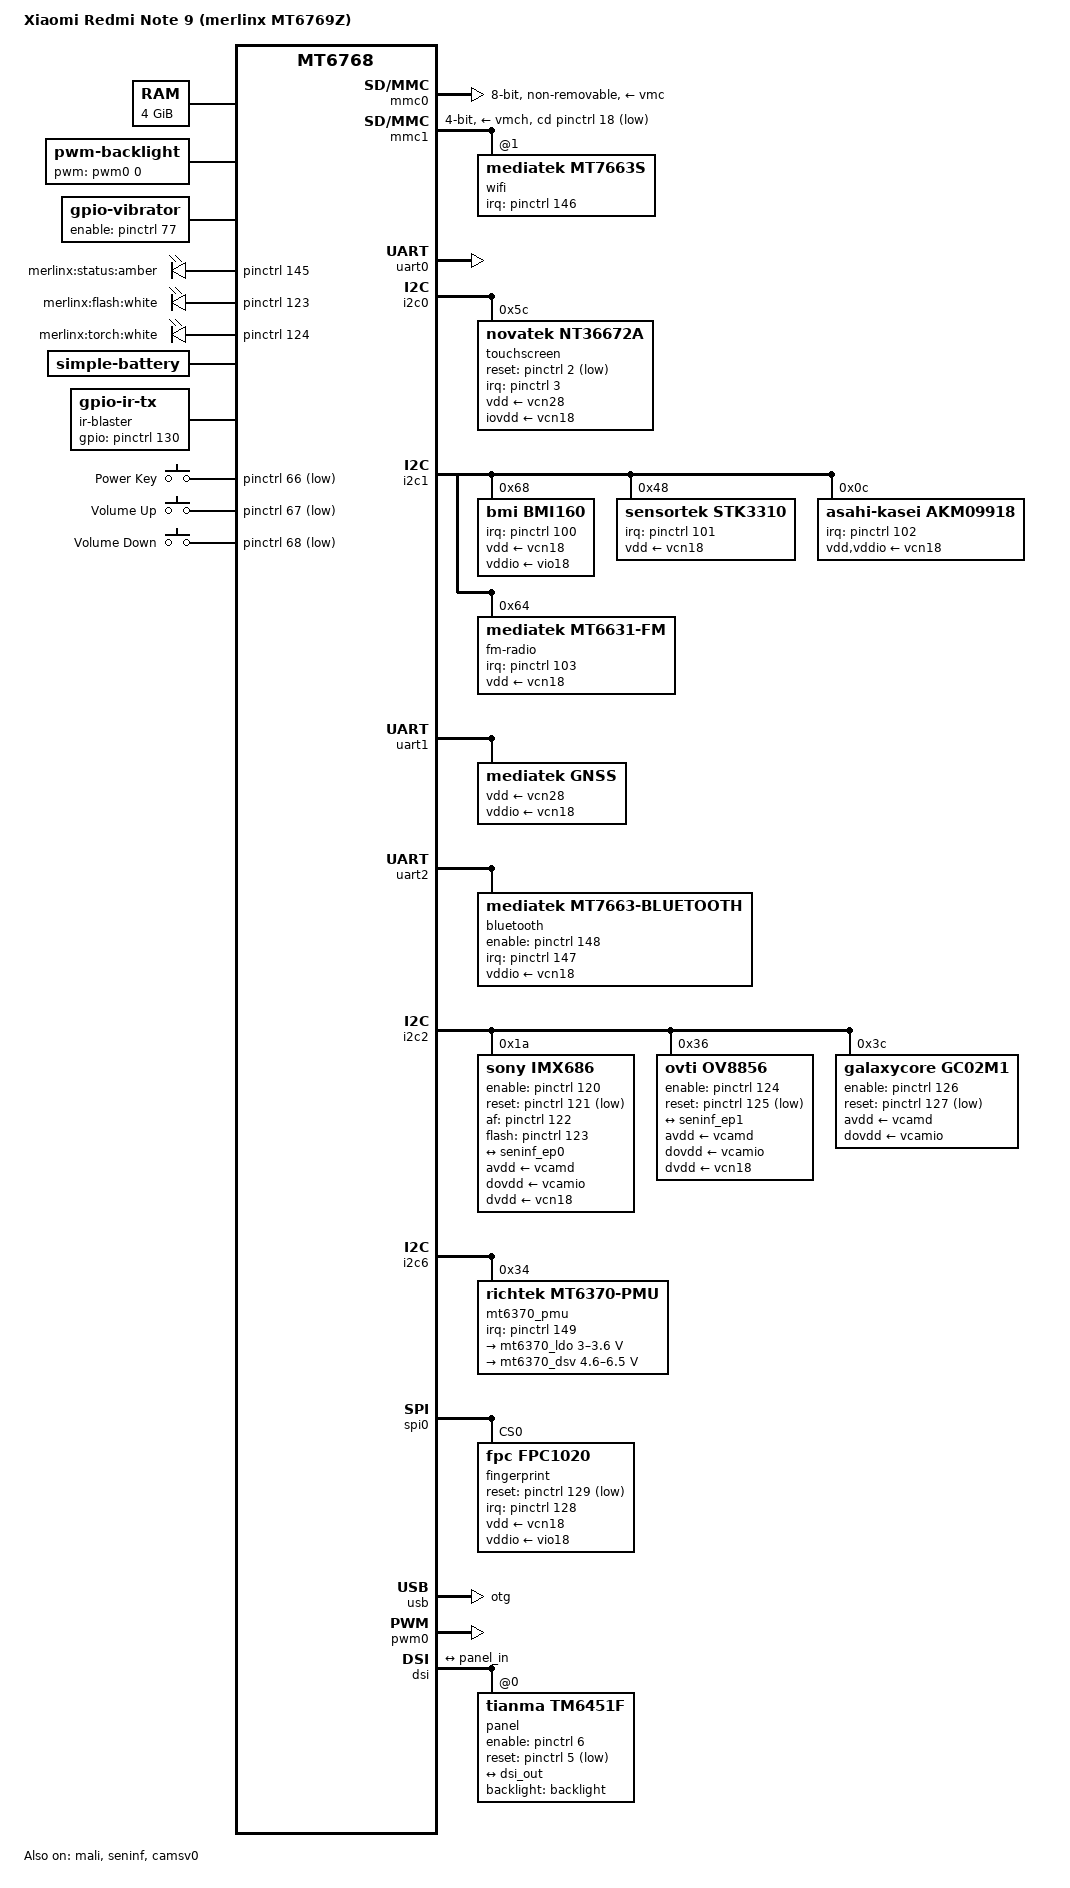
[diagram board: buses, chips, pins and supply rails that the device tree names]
// SPDX-License-Identifier: GPL-2.0
/*
 * Device Tree for Redmi Note 9 (merlinx - non-NFC)
 * SoC: MediaTek MT6769Z (Helio G85)
 * Display: 1080x2340 Tianma DSI panel
 * Storage: eMMC 5.1 + SD card
 * USB: Type-C OTG
 * WiFi: MT7663 SDIO
 * Audio: MT6358 codec
 * Cameras: IMX686 + OV8856 + GC02M1
 */

/dts-v1/;
#include "mt6768.dtsi"
#include <dt-bindings/input/input.h>
#include <dt-bindings/gpio/gpio.h>
#include <dt-bindings/pwm/pwm.h>

/ {
	model = "Xiaomi Redmi Note 9 (merlinx MT6769Z)";
	compatible = "xiaomi,merlinx", "mediatek,mt6769z",
		     "mediatek,mt6769", "mediatek,mt6768";

	memory@40000000 {
		device_type = "memory";
		reg = <0x00000000 0x40000000 0x00000001 0x00000000>;
	};

	chosen {
		bootargs = "console=ttyS0,921600n1 earlycon=uart8250,mmio32,0x11002000,921600n8";
		stdout-path = "uart0:921600n8";
	};

	/* Backlight */
	backlight: backlight {
		compatible = "pwm-backlight";
		pwms = <&pwm0 0 50000 PWM_POLARITY_INVERTED>;
		brightness-levels = <0 32 64 96 128 160 192 224 255>;
		default-brightness-level = <6>;
	};

	/* Vibrator */
	vibrator: vibrator {
		compatible = "gpio-vibrator";
		enable-gpios = <&pinctrl 77 GPIO_ACTIVE_HIGH>;
	};

	/* LED indicators */
	leds {
		compatible = "gpio-leds";
		status-led {
			label = "merlinx:status:amber";
			gpios = <&pinctrl 145 GPIO_ACTIVE_HIGH>;
			default-state = "off";
		};
	};

	/* Flashlight LED */
	flash-led {
		compatible = "gpio-leds";
		flash-led {
			label = "merlinx:flash:white";
			gpios = <&pinctrl 123 GPIO_ACTIVE_HIGH>;
			linux,default-trigger = "flash";
		};
		torch-led {
			label = "merlinx:torch:white";
			gpios = <&pinctrl 124 GPIO_ACTIVE_HIGH>;
			linux,default-trigger = "torch";
		};
	};

	/* Audio sound card */
	sound: sound {
		compatible = "mediatek,mt6768-sound",
			     "mediatek,mt6779-sound";
		model = "mt6768-merlinx";
		audio-routing =
			"Headphone", "HPOL",
			"Headphone", "HPOR",
			"Speakers", "SPK",
			"Speakers", "SPKL",
			"Speakers", "SPKR",
			"Headset Mic", "HSREF",
			"Headset Mic", "HSMIC",
			"Main Mic", "DMIC1",
			"Sub Mic", "DMIC2";
	};

	/* Battery fuel gauge */
	battery: battery {
		compatible = "simple-battery";
		charge-full-design-microamp-hours = <5000000>;
		voltage-min-design-microvolt = <3400000>;
		voltage-max-design-microvolt = <4400000>;
	};
};

/* PMIC Regulators - MT6358 */
&pmic {
	regulators {
		vcore: buck-vcore {
			regulator-name = "vcore";
			regulator-min-microvolt = <500000>;
			regulator-max-microvolt = <1293750>;
			regulator-always-on;
		};

		vpa: boost-vpa {
			regulator-name = "vpa";
			regulator-min-microvolt = <500000>;
			regulator-max-microvolt = <3650000>;
		};

		vgpu: buck-vgpu {
			regulator-name = "vgpu";
			regulator-min-microvolt = <500000>;
			regulator-max-microvolt = <1293750>;
		};

		vmodem: buck-vmodem {
			regulator-name = "vmodem";
			regulator-min-microvolt = <500000>;
			regulator-max-microvolt = <1293750>;
			regulator-always-on;
		};

		vproc11: buck-vproc11 {
			regulator-name = "vproc11";
			regulator-min-microvolt = <500000>;
			regulator-max-microvolt = <1293750>;
			regulator-always-on;
		};

		vproc12: buck-vproc12 {
			regulator-name = "vproc12";
			regulator-min-microvolt = <500000>;
			regulator-max-microvolt = <1293750>;
			regulator-always-on;
		};

		vdram1: buck-vdram1 {
			regulator-name = "vdram1";
			regulator-min-microvolt = <500000>;
			regulator-max-microvolt = <2087500>;
			regulator-always-on;
		};

		vs1: buck-vs1 {
			regulator-name = "vs1";
			regulator-min-microvolt = <500000>;
			regulator-max-microvolt = <2087500>;
		};

		vs2: buck-vs2 {
			regulator-name = "vs2";
			regulator-min-microvolt = <500000>;
			regulator-max-microvolt = <2087500>;
		};

		va09: ldo-va09 {
			regulator-name = "va09";
			regulator-min-microvolt = <900000>;
			regulator-max-microvolt = <900000>;
		};

		vaud28: ldo-vaud28 {
			regulator-name = "vaud28";
			regulator-min-microvolt = <2800000>;
			regulator-max-microvolt = <2800000>;
		};

		vaux18: ldo-vaux18 {
			regulator-name = "vaux18";
			regulator-min-microvolt = <1800000>;
			regulator-max-microvolt = <1800000>;
		};

		vbif28: ldo-vbif28 {
			regulator-name = "vbif28";
			regulator-min-microvolt = <2800000>;
			regulator-max-microvolt = <2800000>;
		};

		vcama1: ldo-vcama1 {
			regulator-name = "vcama1";
			regulator-min-microvolt = <1800000>;
			regulator-max-microvolt = <2800000>;
		};

		vcama2: ldo-vcama2 {
			regulator-name = "vcama2";
			regulator-min-microvolt = <1800000>;
			regulator-max-microvolt = <2800000>;
		};

		vcamd: ldo-vcamd {
			regulator-name = "vcamd";
			regulator-min-microvolt = <900000>;
			regulator-max-microvolt = <1500000>;
		};

		vcamio: ldo-vcamio {
			regulator-name = "vcamio";
			regulator-min-microvolt = <1200000>;
			regulator-max-microvolt = <1800000>;
		};

		vcn18: ldo-vcn18 {
			regulator-name = "vcn18";
			regulator-min-microvolt = <1800000>;
			regulator-max-microvolt = <1800000>;
		};

		vcn28: ldo-vcn28 {
			regulator-name = "vcn28";
			regulator-min-microvolt = <2800000>;
			regulator-max-microvolt = <2800000>;
		};

		vcn33_bt: ldo-vcn33-bt {
			regulator-name = "vcn33_bt";
			regulator-min-microvolt = <3300000>;
			regulator-max-microvolt = <3600000>;
		};

		vcn33_wifi: ldo-vcn33-wifi {
			regulator-name = "vcn33_wifi";
			regulator-min-microvolt = <3300000>;
			regulator-max-microvolt = <3600000>;
		};

		vdram2: ldo-vdram2 {
			regulator-name = "vdram2";
			regulator-min-microvolt = <1200000>;
			regulator-max-microvolt = <1800000>;
		};

		vemc: ldo-vemc {
			regulator-name = "vemc";
			regulator-min-microvolt = <2900000>;
			regulator-max-microvolt = <3300000>;
			regulator-always-on;
		};

		vefuse: ldo-vefuse {
			regulator-name = "vefuse";
			regulator-min-microvolt = <1800000>;
			regulator-max-microvolt = <2200000>;
		};

		vfe28: ldo-vfe28 {
			regulator-name = "vfe28";
			regulator-min-microvolt = <2800000>;
			regulator-max-microvolt = <2800000>;
		};

		vio18: ldo-vio18 {
			regulator-name = "vio18";
			regulator-min-microvolt = <1800000>;
			regulator-max-microvolt = <1800000>;
		};

		vio28: ldo-vio28 {
			regulator-name = "vio28";
			regulator-min-microvolt = <2800000>;
			regulator-max-microvolt = <2800000>;
		};

		vldo28: ldo-vldo28 {
			regulator-name = "vldo28";
			regulator-min-microvolt = <2800000>;
			regulator-max-microvolt = <2800000>;
		};

		vmc: ldo-vmc {
			regulator-name = "vmc";
			regulator-min-microvolt = <1800000>;
			regulator-max-microvolt = <3300000>;
		};

		vmch: ldo-vmch {
			regulator-name = "vmch";
			regulator-min-microvolt = <2900000>;
			regulator-max-microvolt = <3300000>;
		};

		vsim1: ldo-vsim1 {
			regulator-name = "vsim1";
			regulator-min-microvolt = <1800000>;
			regulator-max-microvolt = <3300000>;
		};

		vsim2: ldo-vsim2 {
			regulator-name = "vsim2";
			regulator-min-microvolt = <1800000>;
			regulator-max-microvolt = <3300000>;
		};

		vusb: ldo-vusb {
			regulator-name = "vusb";
			regulator-min-microvolt = <3000000>;
			regulator-max-microvolt = <3300000>;
		};

		vibr: ldo-vibr {
			regulator-name = "vibr";
			regulator-min-microvolt = <1200000>;
			regulator-max-microvolt = <3300000>;
		};

		vrf12: ldo-vrf12 {
			regulator-name = "vrf12";
			regulator-min-microvolt = <1200000>;
			regulator-max-microvolt = <1200000>;
		};

		vrf18: ldo-vrf18 {
			regulator-name = "vrf18";
			regulator-min-microvolt = <1800000>;
			regulator-max-microvolt = <1800000>;
		};

		vsram_gpu: ldo-vsram-gpu {
			regulator-name = "vsram_gpu";
			regulator-min-microvolt = <500000>;
			regulator-max-microvolt = <1293750>;
		};

		vsram_others: ldo-vsram-others {
			regulator-name = "vsram_others";
			regulator-min-microvolt = <500000>;
			regulator-max-microvolt = <1293750>;
		};

		vsram_proc11: ldo-vsram-proc11 {
			regulator-name = "vsram_proc11";
			regulator-min-microvolt = <500000>;
			regulator-max-microvolt = <1293750>;
		};

		vsram_proc12: ldo-vsram-proc12 {
			regulator-name = "vsram_proc12";
			regulator-min-microvolt = <500000>;
			regulator-max-microvolt = <1293750>;
		};

		vxo22: ldo-vxo22 {
			regulator-name = "vxo22";
			regulator-min-microvolt = <2200000>;
			regulator-max-microvolt = <2200000>;
			regulator-always-on;
		};

		va12: ldo-va12 {
			regulator-name = "va12";
			regulator-min-microvolt = <1200000>;
			regulator-max-microvolt = <1200000>;
		};
	};
};

/* eMMC - 8-bit, HS400 */
&mmc0 {
	bus-width = <8>;
	max-frequency = <200000000>;
	cap-mmc-highspeed;
	mmc-hs200-1_8v;
	mmc-hs400-1_8v;
	non-removable;
	vmmc-supply = <&vmc>;
	vqmmc-supply = <&vio18>;
	status = "okay";
};

/* SD Card / WiFi combo */
&mmc1 {
	bus-width = <4>;
	max-frequency = <50000000>;
	cap-sd-highspeed;
	cd-gpios = <&pinctrl 18 GPIO_ACTIVE_LOW>;
	vmmc-supply = <&vmch>;
	vqmmc-supply = <&vmc>;
	status = "okay";

	/* MT7663 WiFi via SDIO slot */
	wifi@1 {
		compatible = "mediatek,mt7663s";
		reg = <1>;
		interrupt-parent = <&pinctrl>;
		interrupts = <146 IRQ_TYPE_LEVEL_LOW>;
		interrupt-names = "wifi";
	};
};

/* UART0 console */
&uart0 {
	status = "okay";
};

/* I2C0 - Touchscreen */
&i2c0 {
	status = "okay";

	/* Touchscreen: Novatek NT36672A */
	touchscreen@5c {
		compatible = "novatek,nt36672a";
		reg = <0x5c>;
		interrupt-parent = <&pinctrl>;
		interrupts = <3 IRQ_TYPE_EDGE_FALLING>;
		reset-gpios = <&pinctrl 2 GPIO_ACTIVE_LOW>;
		touchscreen-size-x = <1080>;
		touchscreen-size-y = <2340>;
		touchscreen-inverted-x;
		touchscreen-inverted-y;
		vdd-supply = <&vcn28>;
		iovdd-supply = <&vcn18>;
		firmware-name = "novatek_ts_fw.bin";
	};
};

/* I2C1 - Sensors + FM Radio */
&i2c1 {
	status = "okay";

	/* BMI160 IMU */
	bmi160@68 {
		compatible = "bmi,bmi160";
		reg = <0x68>;
		interrupt-parent = <&pinctrl>;
		interrupts = <100 IRQ_TYPE_EDGE_RISING>;
		vdd-supply = <&vcn18>;
		vddio-supply = <&vio18>;
	};

	/* STK3310 Proximity/Light */
	stk3310@48 {
		compatible = "sensortek,stk3310";
		reg = <0x48>;
		interrupt-parent = <&pinctrl>;
		interrupts = <101 IRQ_TYPE_EDGE_RISING>;
		vdd-supply = <&vcn18>;
	};

	/* AKM09918 Compass/Magnetometer */
	akm09918@0c {
		compatible = "asahi-kasei,akm09918";
		reg = <0x0c>;
		interrupt-parent = <&pinctrl>;
		interrupts = <102 IRQ_TYPE_EDGE_RISING>;
		vdd-supply = <&vcn18>;
		vddio-supply = <&vcn18>;
	};

	/* MT6631 FM Radio */
	fm-radio@64 {
		compatible = "mediatek,mt6631-fm";
		reg = <0x64>;
		interrupt-parent = <&pinctrl>;
		interrupts = <103 IRQ_TYPE_EDGE_RISING>;
		vdd-supply = <&vcn18>;
	};
};

/* UART1 - GPS */
&uart1 {
	status = "okay";

	gnss {
		compatible = "mediatek,gnss";
		vdd-supply = <&vcn28>;
		vddio-supply = <&vcn18>;
	};
};
&uart2 {
	status = "okay";

	bluetooth {
		compatible = "mediatek,mt7663-bluetooth";
		interrupt-parent = <&pinctrl>;
		interrupts = <147 IRQ_TYPE_LEVEL_LOW>;
		enable-gpios = <&pinctrl 148 GPIO_ACTIVE_HIGH>;
		vddio-supply = <&vcn18>;
	};
};

/* I2C2 - Camera sensors */
&i2c2 {
	status = "okay";

	/* Main camera: IMX686 64MP */
	imx686: camera@1a {
		compatible = "sony,imx686";
		reg = <0x1a>;
		enable-gpios = <&pinctrl 120 GPIO_ACTIVE_HIGH>;
		reset-gpios = <&pinctrl 121 GPIO_ACTIVE_LOW>;
		af-gpios = <&pinctrl 122 GPIO_ACTIVE_HIGH>;
		flash-gpios = <&pinctrl 123 GPIO_ACTIVE_HIGH>;
		clocks = <&clk26m>;
		clock-names = "xvclk";
		assigned-clocks = <&clk26m>;
		assigned-clock-rates = <24000000>;
		avdd-supply = <&vcamd>;
		dovdd-supply = <&vcamio>;
		dvdd-supply = <&vcn18>;
		port {
			imx686_ep: endpoint {
				remote-endpoint = <&seninf_ep0>;
				data-lanes = <1 2 3 4>;
				clock-lanes = <0>;
			};
		};
	};

	/* Ultra-wide: OV8856 8MP */
	ov8856: camera@36 {
		compatible = "ovti,ov8856";
		reg = <0x36>;
		enable-gpios = <&pinctrl 124 GPIO_ACTIVE_HIGH>;
		reset-gpios = <&pinctrl 125 GPIO_ACTIVE_LOW>;
		clocks = <&clk26m>;
		clock-names = "xvclk";
		assigned-clock-rates = <24000000>;
		avdd-supply = <&vcamd>;
		dovdd-supply = <&vcamio>;
		dvdd-supply = <&vcn18>;
		port {
			ov8856_ep: endpoint {
				remote-endpoint = <&seninf_ep1>;
				data-lanes = <1 2>;
				clock-lanes = <0>;
			};
		};
	};

	/* Macro: GC02M1 2MP */
	gc02m1: camera@3c {
		compatible = "galaxycore,gc02m1";
		reg = <0x3c>;
		enable-gpios = <&pinctrl 126 GPIO_ACTIVE_HIGH>;
		reset-gpios = <&pinctrl 127 GPIO_ACTIVE_LOW>;
		clocks = <&clk26m>;
		clock-names = "xvclk";
		avdd-supply = <&vcamd>;
		dovdd-supply = <&vcamio>;
	};
};

/* I2C6 - MT6370 sub-PMIC (charger, Type-C PD, flash LED) */
&i2c6 {
	status = "okay";

	mt6370_pmu: mt6370-pmu@34 {
		compatible = "richtek,mt6370-pmu";
		reg = <0x34>;
		interrupt-parent = <&pinctrl>;
		interrupts = <149 IRQ_TYPE_LEVEL_LOW>;
		interrupt-names = "irq";

		mt6370_charger: charger {
			compatible = "richtek,mt6370-charger";
			support_pd;
			support_typec;
			non_std_ac_charger_current = <3000000>;
			pd_charger_current = <3000000>;
			ta_ac_charger_current = <3000000>;
			usb_charger_current = <500000>;
			usb_charger_current_unconfigured = <500000>;
			usb_charger_current_configured = <1500000>;
			min_charger_voltage = <4400000>;
			min_charge_temp_plus_x_degree = <5000>;
			temp_t0_thres = <5000>;
			temp_t1_thres = <10000>;
			temp_t2_thres = <20000>;
			temp_t3_thres = <45000>;
			temp_t4_thres = <55000>;
			safety_timer = <3600>;
			pe20_ichg_level_threshold = <3000000>;
			ta_stop_battery_soc = <95>;
			pd_stop_battery_soc = <95>;
			pe40_stop_battery_soc = <95>;
		};

		mt6370_typec: typec_port0 {
			compatible = "richtek,mt6370-tcpc";
			typec,receptacle;
			pd,source-pdo-size = <4>;
			pd,source-pdo-data = <0x000193C8 0x0002D12C 0x0003C12C 0x0003C190>;
			pd,sink-pdo-size = <4>;
			pd,sink-pdo-data = <0x000193C8 0x0002D12C 0x0003C12C 0x0003C190>;
			pd,source-cap-ext = <0x00010012 0x00010016 0x00010028>;
		};

		mt6370_fled1: mt6370-fled1 {
			compatible = "richtek,mt6370-fled1";
			strobe_cur = <1500000>;
			torch_cur = <375000>;
			strobe_timeout = <1300>;
		};

		mt6370_fled2: mt6370-fled2 {
			compatible = "richtek,mt6370-fled2";
			strobe_cur = <1500000>;
			torch_cur = <375000>;
			strobe_timeout = <1300>;
		};

		mt6370_ldo: ldo {
			compatible = "richtek,mt6370-ldo";
			regulator-compatible = "ldo";
			regulator-name = "mt6370_ldo";
			regulator-min-microvolt = <3000000>;
			regulator-max-microvolt = <3600000>;
		};

		mt6370_dsv: dsv {
			compatible = "richtek,mt6370-dsv";
			regulator-compatible = "dsv";
			regulator-name = "mt6370_dsv";
			regulator-min-microvolt = <4600000>;
			regulator-max-microvolt = <6500000>;
		};
	};
};

/* SPI0 */
&spi0 {
	status = "okay";
};

/* USB OTG */
&usb {
	dr_mode = "otg";
	status = "okay";
};

/* Thermal sensor */
&thermal {
	status = "okay";
};

/* PWM for backlight */
&pwm0 {
	status = "okay";
};

/* DSI display output */
&dsi {
	status = "okay";

	panel@0 {
		compatible = "tianma,tm6451f", "simple-panel";
		reg = <0>;
		backlight = <&backlight>;
		enable-gpios = <&pinctrl 6 GPIO_ACTIVE_HIGH>;
		reset-gpios = <&pinctrl 5 GPIO_ACTIVE_LOW>;

		display-timings {
			native-mode = <&timing0>;
			timing0: timing {
				clock-frequency = <148500000>;
				hactive = <1080>;
				vactive = <2340>;
				hfront-porch = <30>;
				hback-porch = <30>;
				hsync-len = <10>;
				vfront-porch = <10>;
				vback-porch = <10>;
				vsync-len = <4>;
				hsync-active = <0>;
				vsync-active = <0>;
				de-active = <0>;
				pixelclk-active = <0>;
			};
		};

		port {
			panel_in: endpoint {
				remote-endpoint = <&dsi_out>;
			};
		};
	};

	ports {
		#address-cells = <1>;
		#size-cells = <0>;

		port@1 {
			reg = <1>;
			dsi_out: endpoint {
				remote-endpoint = <&panel_in>;
			};
		};
	};
};

/* GPU */
&mali {
	clocks = <&topckgen CLK_TOP_MMPLL>;
	clock-names = "gpu";
	status = "okay";
};

/* Camera sensor interface */
&seninf {
	status = "okay";

	ports {
		#address-cells = <1>;
		#size-cells = <0>;

		port@0 {
			reg = <0>;
			seninf_ep0: endpoint {
				remote-endpoint = <&imx686_ep>;
				bus-type = <4>; /* CSI2 DPHY */
				data-lanes = <1 2 3 4>;
				clock-lanes = <0>;
				clock-noncontinuous;
				link-frequencies = /bits/ 64 <297000000>;
			};
		};

		port@1 {
			reg = <1>;
			seninf_ep1: endpoint {
				remote-endpoint = <&ov8856_ep>;
				bus-type = <4>;
				data-lanes = <1 2>;
				clock-lanes = <0>;
				clock-noncontinuous;
				link-frequencies = /bits/ 64 <297000000>;
			};
		};
	};
};

/* Camera ISP */
&camsv0 {
	status = "okay";
};

/* Fingerprint Sensor - via SPI */
&spi0 {
	status = "okay";

	fingerprint@0 {
		compatible = "fpc,fpc1020";
		reg = <0>;
		interrupt-parent = <&pinctrl>;
		interrupts = <128 IRQ_TYPE_EDGE_FALLING>;
		reset-gpios = <&pinctrl 129 GPIO_ACTIVE_LOW>;
		vdd-supply = <&vcn18>;
		vddio-supply = <&vio18>;
	};
};

/ {
	/* IR Blaster */
	ir-blaster {
		compatible = "gpio-ir-tx";
		gpios = <&pinctrl 130 GPIO_ACTIVE_HIGH>;
	};

	/* GPIO Keys - Power + Volume */
	gpio-keys {
		compatible = "gpio-keys";
		pinctrl-names = "default";

		power-key {
			label = "Power Key";
			gpios = <&pinctrl 66 GPIO_ACTIVE_LOW>;
			linux,code = <KEY_POWER>;
			wakeup-source;
		};

		vol-up {
			label = "Volume Up";
			gpios = <&pinctrl 67 GPIO_ACTIVE_LOW>;
			linux,code = <KEY_VOLUMEUP>;
			wakeup-source;
		};

		vol-down {
			label = "Volume Down";
			gpios = <&pinctrl 68 GPIO_ACTIVE_LOW>;
			linux,code = <KEY_VOLUMEDOWN>;
			wakeup-source;
		};
	};
};
